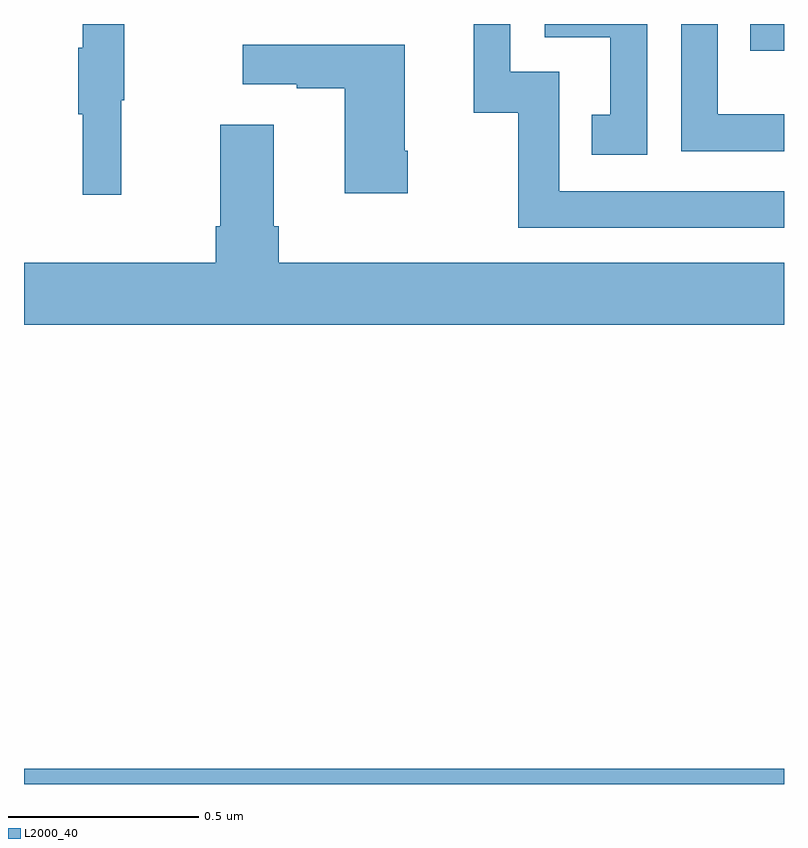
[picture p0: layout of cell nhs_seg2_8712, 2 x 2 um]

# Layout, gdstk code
import gdstk
lib = gdstk.Library(unit=1e-6, precision=1e-09)
def R(c, l, rs):  # rectangles x0, y0, x1, y1
    for r in rs: c.add(gdstk.rectangle(r[:2], r[2:], *l))
def P(c, l, *ps):  # polygons
    for p in ps: c.add(gdstk.Polygon(p, *l))
L2000_40 = (2000, 40)

nhs_seg2_8712 = lib.new_cell('nhs_seg2_8712')
R(nhs_seg2_8712, L2000_40, [(220,607.8,222,607.84), (221.911,609.729,222,609.8)])
P(nhs_seg2_8712, L2000_40, [(220.256,609.6),(220.264,609.6),(220.264,609.8),(220.154,609.8),(220.154,609.737),(220.143,609.737),(220.143,609.563),(220.154,609.563),(220.154,609.351),(220.256,609.351)],
  [(221.64,609.8),(221.37,609.8),(221.37,609.765),(221.543,609.765),(221.543,609.561),(221.494,609.561),(221.494,609.456),(221.64,609.456)],
  [(222,609.562),(221.826,609.562),(221.826,609.8),(221.73,609.8),(221.73,609.465),(222,609.465)],
  [(222,609.36),(221.409,609.36),(221.409,609.675),(221.28,609.675),(221.28,609.8),(221.183,609.8),(221.183,609.567),(221.301,609.567),(221.301,609.264),(222,609.264)],
  [(221.01,609.466),(221.002,609.466),(221.002,609.745),(220.575,609.745),(220.575,609.641),(220.718,609.641),(220.718,609.631),(220.844,609.631),(220.844,609.354),(221.01,609.354)],
  [(222,609.172),(220.67,609.172),(220.67,609.268),(220.657,609.268),(220.657,609.535),(220.517,609.535),(220.517,609.268),(220.505,609.268),(220.505,609.172),(220,609.172),(220,609.008),(222,609.008)])

lib.write_gds('nhs_seg2_8712.gds')
